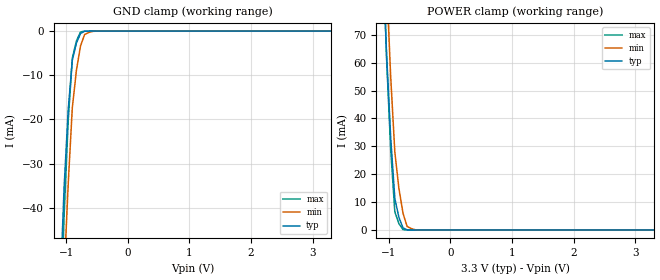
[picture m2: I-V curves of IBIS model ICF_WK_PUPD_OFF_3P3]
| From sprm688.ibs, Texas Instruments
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|ICF_WK_PD_ON_3P3; WEAK_PULLDOWN_ON
|   Model Cell ICF_WK_PUPD_OFF_3P3
|ICF_WK_PUPD_OFF_3P3
[Model]   ICF_WK_PUPD_OFF_3P3
Model_type   Input
Polarity   Non-Inverting
Vinl =  0.8
Vinh =  2
C_comp   0.705929p   0.524756p   0.819798p
[Model Spec]
Vinl   0.8   0.8   0.8
Vinh   2   2   2
[Temperature Range]   25   155   -40
[Voltage Range]   3.3   2.97   3.63
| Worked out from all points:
|   GND clamp passes 1 mA (typ) near -0.78 V on its own axis
|   POWER clamp passes 1 mA (typ) near -0.77 V on its own axis
| Nom Voltages:
|   BIASFET=3.3, VDD=1.2, VDDS=3.3, VSS=0
| Min Voltages:
|   BIASFET=2.97, VDD=1.08, VDDS=2.97, VSS=0
| Max Voltages:
|   BIASFET=3.63, VDD=1.32, VDDS=3.63, VSS=0
[POWER_clamp]
|   voltage   I(typ)   I(min)   I(max)
-3.3V     1.823A     2.351A     1.96A
-1.1V     100.7mA    129.7mA    103.9mA
-1.033V   62.82mA    88.77mA    61.28mA
-966.7mV  33.01mA    54.87mA    28.8mA
-900mV    11.27mA    27.97mA    6.482mA
-833.3mV  4.49mA     14.85mA    2.279mA
-766.7mV  745.2uA    5.935mA    119.6uA
-700mV    36.25uA    1.233mA    3.805uA
-566.7mV  1.004uA    77.32uA    376.5nA
3.3V      -122.3pA   -178.5nA   -105.1pA
[GND_clamp]
|   voltage   I(typ)   I(min)   I(max)
-3.3V     -1.38A     -1.323A    -2.074A
-1.1V     -59.59mA   -79.11mA   -70.71mA
-1.033V   -35.48mA   -55.24mA   -41.82mA
-966.7mV  -17.81mA   -34.65mA   -20.29mA
-900mV    -6.579mA   -17.32mA   -6.122mA
-833.3mV  -2.708mA   -8.852mA   -2.234mA
-766.7mV  -527.6uA   -3.333mA   -196.9uA
-700mV    -37.66uA   -764.7uA   -9.119uA
-566.7mV  -1.794uA   -61.93uA   -1.301uA
3.3V      175pA      137.5nA    162.7pA
